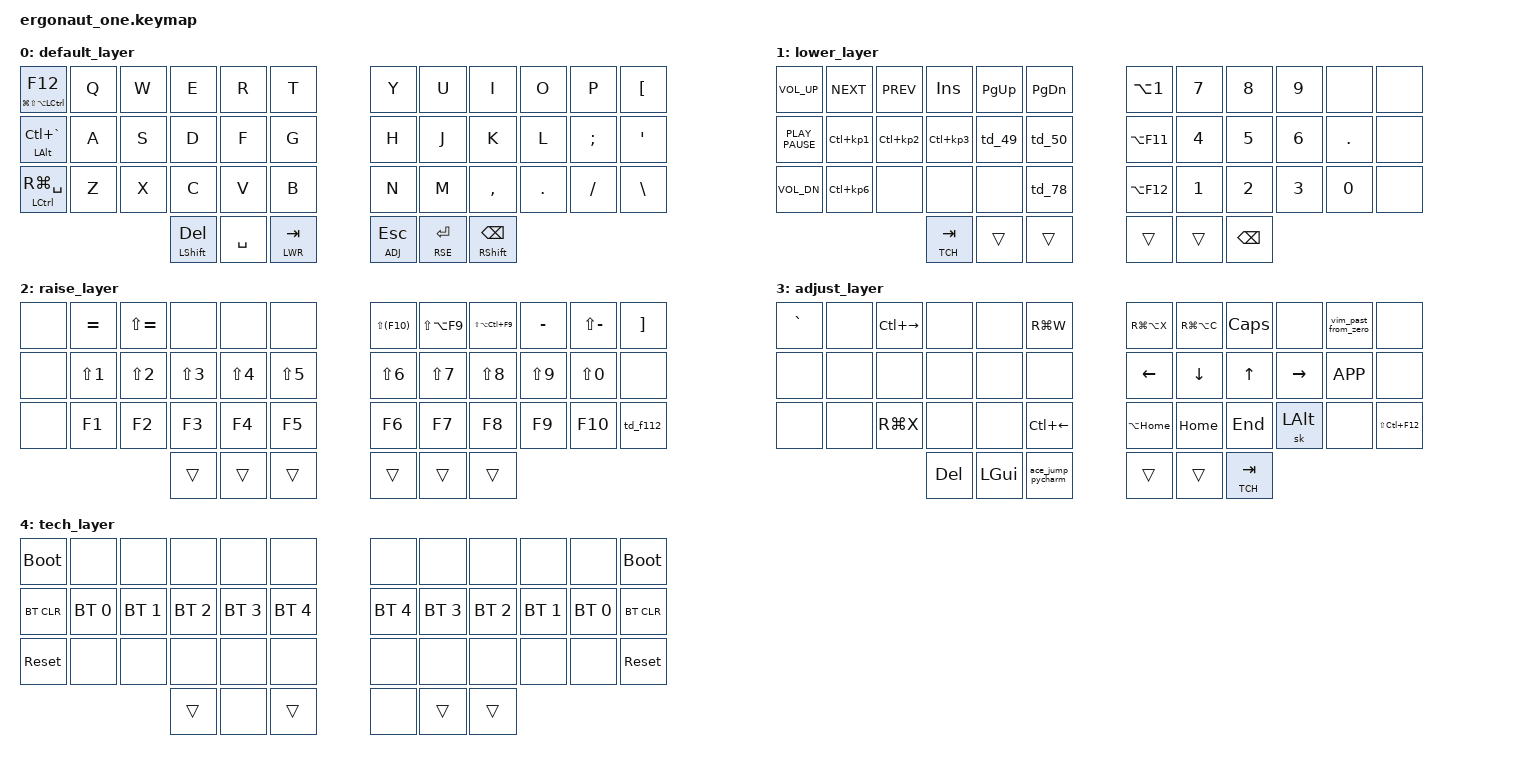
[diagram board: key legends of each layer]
/*
 * Copyright (c) 2021 Rafael Yumagulov
 *
 * SPDX-License-Identifier: MIT

 */

#include <behaviors.dtsi>
#include <dt-bindings/zmk/keys.h>
#include <dt-bindings/zmk/bt.h>



#define DEF 0
#define LWR 1
#define RSE 2
#define ADJ 3
#define TCH 4

&lt { quick_tap_ms = <140>; };
&mt { quick_tap_ms = <120>; };
&sk {
    release-after-ms = <2000>;
    quick-release;
    /delete-property/ ignore-modifiers;
};
/ {
    combos {

        combo_screenshot {
            timeout-ms = <50>;
            key-positions = <19 18>;
            bindings = <&kp RG(S) >;
        };
        combo_undo {
            timeout-ms = <50>;
            key-positions = <21 22>;
            bindings = <&kp LC(Z) >;
        };
        combo_cut {
            timeout-ms = <50>;
            key-positions = <8 9>;
            bindings = <&sk RCTRL >;
        };
        combo_copy {
            timeout-ms = <50>;
            key-positions = <18 17>;
            bindings = <&kp LC(C) >;
        };
        combo_paste {
            timeout-ms = <50>;
            key-positions = <5 4>;
            bindings = <&kp LC(V) >;
        };
        compatible = "zmk,combos";
        combo_left_ctrlshift {
            timeout-ms = <50>;
            key-positions = <30 29>;
            bindings = <&kp LS(LCTRL) >;
        };
        combo_left_ctrlalt {
            timeout-ms = <50>;
            key-positions = <29 28>;
            bindings = <&kp LA(LCTRL) >;
        };
        combo_leftshiftalt {
            timeout-ms = <50>;
            key-positions = <30 28>;
            bindings = <&kp LS(LALT) >;
        };
        combo_lefctrltshiftalt {
            timeout-ms = <50>;
            key-positions = <30 29 28>;
            bindings = <&kp LS(LA(LCTRL))>;
        };
        combo_right_ctrlshift {
            timeout-ms = <50>;
            key-positions = <33 34>;
            bindings = <&kp LS(LCTRL) >;
        };
        combo_right_ctrlalt {
            timeout-ms = <50>;
            key-positions = <34 35>;
            bindings = <&kp LA(LCTRL) >;
        };
        combo_right_shiftalt {
            timeout-ms = <50>;
            key-positions = <33 35>;
            bindings = <&kp LS(LALT) >;
        };
        combo_right_ctrlshiftalt {
            timeout-ms = <50>;
            key-positions = <33 34 35>;
            bindings = <&kp LS(LA(LCTRL))>;
        };
    };
};

/ {
 macros {
        ace_jump_pycharm: ace_jump_pycharm {
            label = "Acejump";
            compatible = "zmk,behavior-macro";
            #binding-cells = <0>;
            wait-ms = <40>;
            tap-ms = <40>;
            bindings
                = <&kp SPACE &kp SPACE &kp S>
                ;
        };
         vim_past_from_zero: vim_past_from_zero {
            label = "vimpastzero";
            compatible = "zmk,behavior-macro";
            #binding-cells = <0>;
            wait-ms = <40>;
            tap-ms = <40>;
            bindings
                = <&kp LS(SQT) &kp N0 &kp P>
                ;
        };
         vim_past_from_system: vim_past_from_system {
            label = "vimpastsystem";
            compatible = "zmk,behavior-macro";
            #binding-cells = <0>;
            wait-ms = <40>;
            tap-ms = <40>;
            bindings
                = <&kp LS(SQT) &kp LS(N8) &kp P>
                ;
        };
    };

    behaviors {
        td_f112: tap_dance_f112 {
            compatible = "zmk,behavior-tap-dance";
            label = "td_f112";
            #binding-cells = <0>;
            tapping-term-ms = <300>;
            bindings = <&kp F11>, <&kp F12>;
        };
        td_78: tap_dance_78 {
            compatible = "zmk,behavior-tap-dance";
            label = "td_78";
            #binding-cells = <0>;
            tapping-term-ms = <300>;
            bindings = <&kp LC(KP_N7)>, <&kp LC(KP_N8)>;
        };
        td_49: tap_dance_49 {
            compatible = "zmk,behavior-tap-dance";
            label = "td_49";
            #binding-cells = <0>;
            tapping-term-ms = <300>;
            bindings = <&kp LC(KP_N4)>, <&kp LC(KP_N9)>;
        };
        td_50: tap_dance_50 {
            compatible = "zmk,behavior-tap-dance";
            label = "td_50";
            #binding-cells = <0>;
            tapping-term-ms = <300>;
            bindings = <&kp LC(KP_N5)>, <&kp LC(KP_N0)>;
        };
    };

        keymap {
                compatible = "zmk,keymap";

                default_layer {
// -----------------------------------------------------------------------------------------
// |none  | lang/meh    |  Q  |  W  |  E  |  R  |  T  |   |  Y  |  U   |  I  |  O  |  P  |  [   | none |
//        | ctrl+tab    |  A  |  S  |  D  |  F  |  G  |   |  H  |  J   |  K  |  L  |  ;  | '    |
//        | consoles    |  Z  |  X  |  C  |  V  |  B  |   |  N  |  M   |  ,  |  .  |  /  | \    |
//                           | SHIFT/DEL | SPC | LWR/TAB |   | ADJ/ESC | RSE/ENT| SHIFT/BackSPACE |
                        bindings = <
    &mt LG(LS(LA(LCTRL))) F12 &kp Q &kp W &kp E &kp R &kp T &kp Y         &kp U  &kp I     &kp O   &kp P    &kp LBKT
            &mt LALT LC(GRAVE) &kp A &kp S &kp D &kp F &kp G &kp H         &kp J  &kp K     &kp L   &kp SEMI &kp SQT
            &mt LCTRL RG(SPACE) &kp Z &kp X &kp C &kp V &kp B &kp N         &kp M  &kp COMMA &kp DOT &kp FSLH &kp BSLH
                        &mt LSHIFT DEL &kp SPACE  &lt LWR TAB  &lt ADJ ESC &lt RSE RET &mt RSHIFT BSPC
                        >;
                };
                lower_layer {
// -----------------------------------------------------------------------------------------
// |     |  vol_up  |  PG_DN    |  PG_UP  |  INS    |  HOME   |  END    |   | none |  7  |  8  |  9  | none| none| none |
//       |  mute    |  CTRL(1)  |  CTRL(2)|  CTRL(3)|  CTRL(4)|  CTRL(5)|   | none |  4  |  5  |  6  |  .  | none|
//       |  vol_donw|  CTRL(6)  |  ALT    |  CTRL   |  SHIFT  |CTRL(7/8)|   | none |  1  |  2  |  3  |  0  |     |
//                                  | TRANS |  TRANS   | TRANS |            | TRANS | TRANS  | TRANS |
                        bindings = <
    &kp K_VOL_UP &kp K_NEXT   &kp K_PREV &kp INS   &kp PG_UP   &kp PG_DN           &kp LA(N1)    &kp N7   &kp N8   &kp N9   &none  &none
         &kp K_PLAY_PAUSE &kp LC(KP_N1) &kp LC(KP_N2) &kp LC(KP_N3) &td_49 &td_50        &kp LA(F11) &kp N4 &kp N5 &kp N6 &kp DOT &none
          &kp K_VOL_DN &kp LC(KP_N6)   &none &none   &none   &td_78        &kp LA(F12)  &kp N1   &kp N2   &kp N3   &kp N0   &none
                                              &lt TCH TAB &trans &trans   &trans &trans &kp BSPC
                        >;
                };

                raise_layer {
// -----------------------------------------------------------------------------------------
// |none | none |  =   |  +  |  none  |  none  |  none  |         | shift F10| shift alt F9| run line pycharm  |-   | _   | ]      |none|
//       | none |  !   |  @  |  #     |  $     |  %     |         | ^            | &           |  *                | (  | )   | none   |
//       | none |  F1  | F2  |  F3    |  F4    |  F5    |         | F6           | F7          | F8                | F9 | F10 | F11 F12|
//                              | TRANS |  TRANS   | TRANS |        | TRANS | TRANS  | TRANS |
                        bindings = <
   &none &kp EQUAL &kp LS(EQUAL) &none &none &none    &kp LS((F10)) &kp LS(LA(F9)) &kp LS(LA(LC(F9))) &kp MINUS &kp LS(MINUS) &kp RBKT
          &none &kp LS(N1) &kp LS(N2) &kp LS(N3) &kp LS(N4) &kp LS(N5)        &kp LS(N6) &kp LS(N7) &kp LS(N8) &kp LS(N9) &kp LS(N0) &none
          &none &kp F1 &kp F2 &kp F3 &kp F4 &kp F5        &kp F6 &kp F7 &kp F8 &kp F9 &kp F10 &td_f112
                                  &trans &trans &trans   &trans &trans &trans
                        >;
                };
                adjust_layer {
// -----------------------------------------------------------------------------------------
// | none | `    |CTRL(RIGHT)| none |none |GUI(W)|          |   none   |  none |  CAPS   |  none   |  vim_past   |  none             |  none |
//        | none | none      | none |none |none  |          |   LEFT   | DOWN  |  UP     | RIGHT   |  LT(HOME)   |  none             |
//        | none |  none     |GUI(X)|none |none  |          |   SHIFT  | MENU  |  CTRL   |  ALT    |  none       |   SHIFT CTRL F12  |
//           | TRANS |  GUI   | ace_jump_pycharm |        | TRANS | TRANS  | TRANS |
                        bindings = <
    &kp GRAVE &none  &kp LC(RIGHT) &none &none &kp RG(W)        &kp RG(LA(X)) &kp RG(LA(C)) &kp CAPS &none &vim_past_from_zero &none
          &none   &none  &none &none &none &none        &kp LEFT &kp DOWN &kp UP &kp RIGHT &kp K_APP &none
          &none   &none  &kp RG(X) &none &none &kp LC(LEFT)        &kp LA(HOME) &kp HOME &kp END &sk LALT &none &kp LS(LC(F12))
                                    &kp DEL &kp LGUI &ace_jump_pycharm   &trans &trans &lt TCH TAB
                        >;
                };

            tech_layer {
                bindings = <
                    &bootloader   &none          &none          &none          &none          &none          &none          &none          &none          &none          &none          &bootloader
                    &bt BT_CLR    &bt BT_SEL 0   &bt BT_SEL 1   &bt BT_SEL 2   &bt BT_SEL 3   &bt BT_SEL 4   &bt BT_SEL 4   &bt BT_SEL 3   &bt BT_SEL 2   &bt BT_SEL 1   &bt BT_SEL 0   &bt BT_CLR
                    &sys_reset    &none          &none          &none          &none          &none          &none          &none          &none          &none          &none          &sys_reset
                                                                &trans         &none          &trans         &none          &trans         &trans
                >;
            };
        };
};
